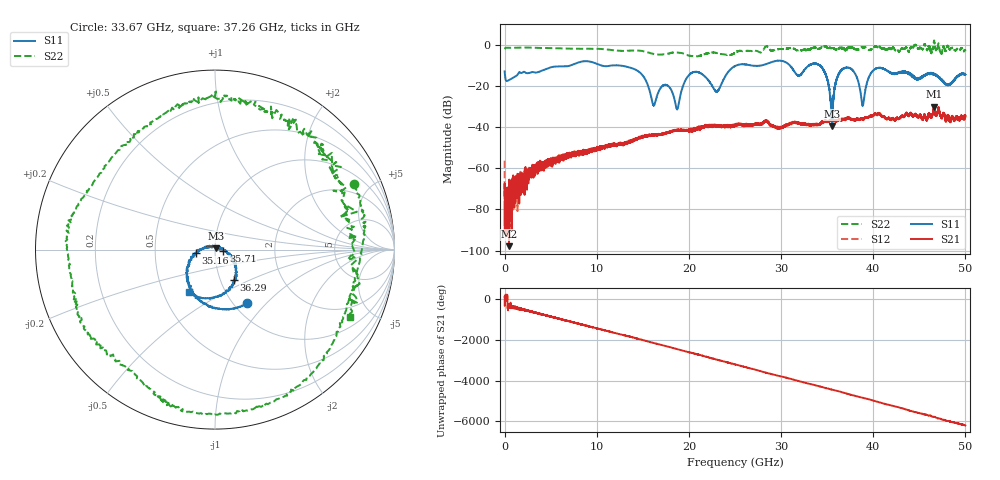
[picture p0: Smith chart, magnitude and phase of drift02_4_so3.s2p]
!Created with skrf (http://scikit-rf.org).
# Hz S RI R 50.0
!freq ReS11 ImS11 ReS21 ImS21 ReS12 ImS12 ReS22 ImS22
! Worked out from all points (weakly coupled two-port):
!   10001 points, 300 kHz to 50 GHz, reference 50 ohm
!   highest |S21| = -30.06 dB at 46.62 GHz (marker M1); lowest = -97.9 dB at 475.3 MHz (marker M2)
!   lowest |S11| = -39.7 dB at 35.54 GHz (marker M3), VSWR 1.02, Z = 50.6 + j0.831 ohm
!   |S11| at or under -10 dB: start of sweep to 7.174 GHz; 12.33 GHz to 25.17 GHz (12.85 GHz wide, 68.5 % of centre); 34.2 GHz to end of sweep (the widest 3 of 18)
!   |S22| runs from -5.7 to 2.1 dB; largest |S21 - S12| = 0.0033
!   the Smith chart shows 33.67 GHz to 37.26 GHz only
!   S11 on the Smith chart (normalised r, x): 33.67 GHz: 1.15, -0.79; 35.16 GHz: 0.81, -0.03; 35.71 GHz: 1.10, -0.02; 36.29 GHz: 1.16, -0.40; 37.26 GHz: 0.67, -0.35
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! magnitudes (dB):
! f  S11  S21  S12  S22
! 300 kHz  -12.9  -73.1  -56.3  -2.1
! 475.3 MHz  -17.1  -97.9  -77.6  -1.5
! 8.335 GHz  -8.2  -52.1  -51.9  -1.9
! 14.03 GHz  -11.7  -46.5  -46.0  -2.8
! 16.14 GHz  -29.3  -43.8  -43.8  -4.4
! 16.67 GHz  -23.2  -43.8  -43.7  -4.7
! 18.73 GHz  -31.3  -41.6  -41.3  -3.7
! 20.25 GHz  -13.8  -40.7  -41.7  -5.4
! 23.03 GHz  -22.7  -39.2  -39.7  -4.0
! 25 GHz  -10.3  -39.2  -39.1  -3.9
! 33.34 GHz  -9.3  -38.9  -38.9  -1.6
! 33.67 GHz  -9.1  -38.8  -38.5  -1.4
! 35.16 GHz  -19.4  -37.3  -37.0  -1.6
! 35.54 GHz  -39.7  -36.9  -36.8  -1.7
! 35.71 GHz  -26.4  -36.7  -36.8  -1.7
! 36.29 GHz  -14.1  -36.6  -36.6  -1.8
! 37.26 GHz  -11.0  -35.8  -35.6  -1.5
! 38.86 GHz  -29.7  -36.1  -35.8  -1.2
! 39.96 GHz  -12.7  -34.4  -34.7  -1.8
! 41.67 GHz  -13.0  -35.8  -35.8  -1.8
! 46.62 GHz  -14.4  -30.1  -30.4  2.0
! 50 GHz  -14.4  -34.7  -34.3  -2.5
